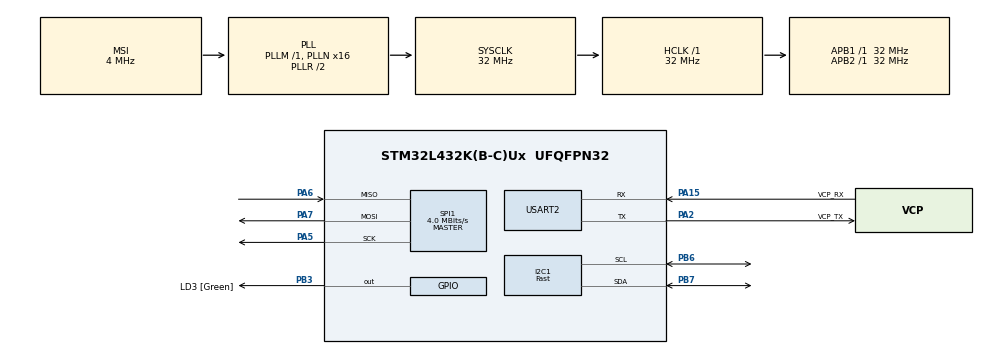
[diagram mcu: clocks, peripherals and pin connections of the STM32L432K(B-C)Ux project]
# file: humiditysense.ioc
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FREERTOS.Tasks01=CheckOutp,8,128,StartCheckOutp,Default,NULL,Dynamic,NULL,NULL;ReadSensor,32,128,StartReadSensor,Default,NULL,Dynamic,NULL,NULL;SendData,24,128,StartSendData,Default,NULL,Dynamic,NULL,NULL
FREERTOS.configUSE_NEWLIB_REENTRANT=1
I2C1.CustomTiming=Enabled
I2C1.I2C_Speed_Mode=I2C_Fast
I2C1.Timing=0x00600614
Mcu.Family=STM32L4
Mcu.Name=STM32L432K(B-C)Ux
Mcu.Package=UFQFPN32
NVIC.PriorityGroup=NVIC_PRIORITYGROUP_4
NVIC.TIM1_BRK_TIM15_IRQn=true\:15\:0\:false\:false\:true\:false\:false\:true\:true
NVIC.TimeBase=TIM1_BRK_TIM15_IRQn
NVIC.TimeBaseIP=TIM15
PA0.GPIO_Label=MCO [High speed clock in]
PA0.Mode=HSE-External-Clock-Source-for-LittleOrca
PA0.Signal=RCC_CK_IN
PA13\ (JTMS-SWDIO).GPIO_Label=SWDIO
PA13\ (JTMS-SWDIO).Mode=Serial_Wire
PA13\ (JTMS-SWDIO).Signal=SYS_JTMS-SWDIO
PA14\ (JTCK-SWCLK).GPIO_Label=SWCLK
PA14\ (JTCK-SWCLK).Mode=Serial_Wire
PA14\ (JTCK-SWCLK).Signal=SYS_JTCK-SWCLK
PA15\ (JTDI).GPIO_Label=VCP_RX
PA15\ (JTDI).Mode=Asynchronous
PA15\ (JTDI).Signal=USART2_RX
PA2.GPIO_Label=VCP_TX
PA2.Mode=Asynchronous
PA2.Signal=USART2_TX
PA4.Signal=SPI1_NSS
PA5.Mode=Full_Duplex_Master
PA5.Signal=SPI1_SCK
PA6.Mode=Full_Duplex_Master
PA6.Signal=SPI1_MISO
PA7.Mode=Full_Duplex_Master
PA7.Signal=SPI1_MOSI
PB3\ (JTDO-TRACESWO).GPIO_Label=LD3 [Green]
PB3\ (JTDO-TRACESWO).Signal=GPIO_Output
PB6.Mode=I2C
PB6.Signal=I2C1_SCL
PB7.Mode=I2C
PB7.Signal=I2C1_SDA
PC14-OSC32_IN\ (PC14).Mode=LSE-External-Oscillator
PC14-OSC32_IN\ (PC14).Signal=RCC_OSC32_IN
PC15-OSC32_OUT\ (PC15).Mode=LSE-External-Oscillator
PC15-OSC32_OUT\ (PC15).Signal=RCC_OSC32_OUT
ProjectManager.HeapSize=0x200
ProjectManager.StackSize=0x400
ProjectManager.TargetToolchain=STM32CubeIDE
RCC.AHBFreq_Value=32000000
RCC.APB1Freq_Value=32000000
RCC.APB1TimFreq_Value=32000000
RCC.APB2Freq_Value=32000000
RCC.APB2TimFreq_Value=32000000
RCC.CortexFreq_Value=32000000
RCC.HCLKFreq_Value=32000000
RCC.HSE_VALUE=8000000
RCC.HSI16_VALUE=16000000
RCC.HSI48_VALUE=48000000
RCC.HSI_VALUE=16000000
RCC.MSI_VALUE=4000000
RCC.PLLMUL=RCC_PLLMUL_4
RCC.PLLN=16
RCC.SYSCLKFreq_VALUE=32000000
RCC.SYSCLKSource=RCC_SYSCLKSOURCE_PLLCLK
RCC.VCOOutputFreq_Value=64000000
SPI1.BaudRatePrescaler=SPI_BAUDRATEPRESCALER_8
SPI1.CalculateBaudRate=4.0 MBits/s
SPI1.DataSize=SPI_DATASIZE_8BIT
SPI1.Direction=SPI_DIRECTION_2LINES
SPI1.Mode=SPI_MODE_MASTER
SPI1.VirtualType=VM_MASTER
USART2.VirtualMode-Asynchronous=VM_ASYNC
VP_FREERTOS_VS_CMSIS_V2.Mode=CMSIS_V2
VP_SYS_VS_tim15.Mode=TIM15
VP_TIM2_VS_ClockSourceINT.Mode=Internal
VP_TIM2_VS_ClockSourceITR.Mode=TriggerSource_ITR0
board=NUCLEO-L432KC

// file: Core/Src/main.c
/* USER CODE BEGIN Header */
/**
  ******************************************************************************
  * @file           : main.c
  * @brief          : Main program body
  ******************************************************************************
  * @attention
  *
  * Copyright (c) 2023 STMicroelectronics.
  * All rights reserved.
  *
  * This software is licensed under terms that can be found in the LICENSE file
  * in the root directory of this software component.
  * If no LICENSE file comes with this software, it is provided AS-IS.
  *
  ******************************************************************************
  */
/* USER CODE END Header */
#include "main.h"
#include "cmsis_os.h"
#include <string.h>
#include <stdio.h>

/* USER CODE BEGIN Includes */

//uint8_t sensorData[2];
float humidity = 0.0;

/* USER CODE END Includes */

I2C_HandleTypeDef hi2c1;

SPI_HandleTypeDef hspi1;

TIM_HandleTypeDef htim2;

UART_HandleTypeDef huart2;

/* Definitions for CheckOutp */
osThreadId_t CheckOutpHandle;
const osThreadAttr_t CheckOutp_attributes = {
  .name = "CheckOutp",
  .stack_size = 128 * 4,
  .priority = (osPriority_t) osPriorityLow,
};
/* Definitions for ReadSensor */
osThreadId_t ReadSensorHandle;
const osThreadAttr_t ReadSensor_attributes = {
  .name = "ReadSensor",
  .stack_size = 128 * 4,
  .priority = (osPriority_t) osPriorityAboveNormal,
};
/* Definitions for SendData */
osThreadId_t SendDataHandle;
const osThreadAttr_t SendData_attributes = {
  .name = "SendData",
  .stack_size = 128 * 4,
  .priority = (osPriority_t) osPriorityNormal,
};

void SystemClock_Config(void);
static void MX_GPIO_Init(void);
static void MX_USART2_UART_Init(void);
static void MX_I2C1_Init(void);
static void MX_SPI1_Init(void);
static void MX_TIM2_Init(void);
void StartCheckOutp(void *argument);
void StartReadSensor(void *argument);
void StartSendData(void *argument);

void ReadSensorData(void);
void CheckOutp(void);

int main(void)
{

  /* MCU Configuration--------------------------------------------------------*/

  /* Reset of all peripherals, Initializes the Flash interface and the Systick. */
  HAL_Init();

  /* Configure the system clock */
  SystemClock_Config();

  /* Initialize all configured peripherals */
  MX_GPIO_Init();
  MX_USART2_UART_Init();
  MX_I2C1_Init();
  MX_SPI1_Init();
  MX_TIM2_Init();

  /* Init scheduler */
  osKernelInitialize();

  /* Create the thread(s) */
  /* creation of CheckOutp */
  CheckOutpHandle = osThreadNew(StartCheckOutp, NULL, &CheckOutp_attributes);

  /* creation of ReadSensor */
  ReadSensorHandle = osThreadNew(StartReadSensor, NULL, &ReadSensor_attributes);

  /* creation of SendData */
  SendDataHandle = osThreadNew(StartSendData, NULL, &SendData_attributes);

  /* Start scheduler */
  osKernelStart();
  /* We should never get here as control is now taken by the scheduler */
  /* Infinite loop */
  while (1)
  {

  }
}

void SystemClock_Config(void)
{
  RCC_OscInitTypeDef RCC_OscInitStruct = {0};
  RCC_ClkInitTypeDef RCC_ClkInitStruct = {0};

  /** Configure the main internal regulator output voltage
  */
  if (HAL_PWREx_ControlVoltageScaling(PWR_REGULATOR_VOLTAGE_SCALE1) != HAL_OK)
  {
    Error_Handler();
  }

  /** Configure LSE Drive Capability
  */
  HAL_PWR_EnableBkUpAccess();
  __HAL_RCC_LSEDRIVE_CONFIG(RCC_LSEDRIVE_LOW);

  /** Initializes the RCC Oscillators according to the specified parameters
  * in the RCC_OscInitTypeDef structure.
  */
  RCC_OscInitStruct.OscillatorType = RCC_OSCILLATORTYPE_LSE|RCC_OSCILLATORTYPE_MSI;
  RCC_OscInitStruct.LSEState = RCC_LSE_ON;
  RCC_OscInitStruct.MSIState = RCC_MSI_ON;
  RCC_OscInitStruct.MSICalibrationValue = 0;
  RCC_OscInitStruct.MSIClockRange = RCC_MSIRANGE_6;
  RCC_OscInitStruct.PLL.PLLState = RCC_PLL_ON;
  RCC_OscInitStruct.PLL.PLLSource = RCC_PLLSOURCE_MSI;
  RCC_OscInitStruct.PLL.PLLM = 1;
  RCC_OscInitStruct.PLL.PLLN = 16;
  RCC_OscInitStruct.PLL.PLLP = RCC_PLLP_DIV7;
  RCC_OscInitStruct.PLL.PLLQ = RCC_PLLQ_DIV2;
  RCC_OscInitStruct.PLL.PLLR = RCC_PLLR_DIV2;
  if (HAL_RCC_OscConfig(&RCC_OscInitStruct) != HAL_OK)
  {
    Error_Handler();
  }

  /** Initializes the CPU, AHB and APB buses clocks
  */
  RCC_ClkInitStruct.ClockType = RCC_CLOCKTYPE_HCLK|RCC_CLOCKTYPE_SYSCLK
                              |RCC_CLOCKTYPE_PCLK1|RCC_CLOCKTYPE_PCLK2;
  RCC_ClkInitStruct.SYSCLKSource = RCC_SYSCLKSOURCE_PLLCLK;
  RCC_ClkInitStruct.AHBCLKDivider = RCC_SYSCLK_DIV1;
  RCC_ClkInitStruct.APB1CLKDivider = RCC_HCLK_DIV1;
  RCC_ClkInitStruct.APB2CLKDivider = RCC_HCLK_DIV1;

  if (HAL_RCC_ClockConfig(&RCC_ClkInitStruct, FLASH_LATENCY_1) != HAL_OK)
  {
    Error_Handler();
  }

  /** Enable MSI Auto calibration
  */
  HAL_RCCEx_EnableMSIPLLMode();
}

static void MX_I2C1_Init(void)
{

  hi2c1.Instance = I2C1;
  hi2c1.Init.Timing = 0x00600614;
  hi2c1.Init.OwnAddress1 = 0;
  hi2c1.Init.AddressingMode = I2C_ADDRESSINGMODE_7BIT;
  hi2c1.Init.DualAddressMode = I2C_DUALADDRESS_DISABLE;
  hi2c1.Init.OwnAddress2 = 0;
  hi2c1.Init.OwnAddress2Masks = I2C_OA2_NOMASK;
  hi2c1.Init.GeneralCallMode = I2C_GENERALCALL_DISABLE;
  hi2c1.Init.NoStretchMode = I2C_NOSTRETCH_DISABLE;
  if (HAL_I2C_Init(&hi2c1) != HAL_OK)
  {
    Error_Handler();
  }

  /** Configure Analogue filter
  */
  if (HAL_I2CEx_ConfigAnalogFilter(&hi2c1, I2C_ANALOGFILTER_ENABLE) != HAL_OK)
  {
    Error_Handler();
  }

  /** Configure Digital filter
  */
  if (HAL_I2CEx_ConfigDigitalFilter(&hi2c1, 0) != HAL_OK)
  {
    Error_Handler();
  }

}

static void MX_SPI1_Init(void)
{

  /* SPI1 parameter configuration*/
  hspi1.Instance = SPI1;
  hspi1.Init.Mode = SPI_MODE_MASTER;
  hspi1.Init.Direction = SPI_DIRECTION_2LINES;
  hspi1.Init.DataSize = SPI_DATASIZE_8BIT;
  hspi1.Init.CLKPolarity = SPI_POLARITY_LOW;
  hspi1.Init.CLKPhase = SPI_PHASE_1EDGE;
  hspi1.Init.NSS = SPI_NSS_SOFT;
  hspi1.Init.BaudRatePrescaler = SPI_BAUDRATEPRESCALER_8;
  hspi1.Init.FirstBit = SPI_FIRSTBIT_MSB;
  hspi1.Init.TIMode = SPI_TIMODE_DISABLE;
  hspi1.Init.CRCCalculation = SPI_CRCCALCULATION_DISABLE;
  hspi1.Init.CRCPolynomial = 7;
  hspi1.Init.CRCLength = SPI_CRC_LENGTH_DATASIZE;
  hspi1.Init.NSSPMode = SPI_NSS_PULSE_ENABLE;
  if (HAL_SPI_Init(&hspi1) != HAL_OK)
  {
    Error_Handler();
  }

}

static void MX_TIM2_Init(void)
{

  TIM_ClockConfigTypeDef sClockSourceConfig = {0};
  TIM_SlaveConfigTypeDef sSlaveConfig = {0};
  TIM_MasterConfigTypeDef sMasterConfig = {0};

  htim2.Instance = TIM2;
  htim2.Init.Prescaler = 0;
  htim2.Init.CounterMode = TIM_COUNTERMODE_UP;
  htim2.Init.Period = 4294967295;
  htim2.Init.ClockDivision = TIM_CLOCKDIVISION_DIV1;
  htim2.Init.AutoReloadPreload = TIM_AUTORELOAD_PRELOAD_DISABLE;
  if (HAL_TIM_Base_Init(&htim2) != HAL_OK)
  {
    Error_Handler();
  }
  sClockSourceConfig.ClockSource = TIM_CLOCKSOURCE_INTERNAL;
  if (HAL_TIM_ConfigClockSource(&htim2, &sClockSourceConfig) != HAL_OK)
  {
    Error_Handler();
  }
  sSlaveConfig.SlaveMode = TIM_SLAVEMODE_DISABLE;
  sSlaveConfig.InputTrigger = TIM_TS_ITR0;
  if (HAL_TIM_SlaveConfigSynchro(&htim2, &sSlaveConfig) != HAL_OK)
  {
    Error_Handler();
  }
  sMasterConfig.MasterOutputTrigger = TIM_TRGO_RESET;
  sMasterConfig.MasterSlaveMode = TIM_MASTERSLAVEMODE_DISABLE;
  if (HAL_TIMEx_MasterConfigSynchronization(&htim2, &sMasterConfig) != HAL_OK)
  {
    Error_Handler();
  }

}

static void MX_USART2_UART_Init(void)
{

  huart2.Instance = USART2;
  huart2.Init.BaudRate = 115200;
  huart2.Init.WordLength = UART_WORDLENGTH_8B;
  huart2.Init.StopBits = UART_STOPBITS_1;
  huart2.Init.Parity = UART_PARITY_NONE;
  huart2.Init.Mode = UART_MODE_TX_RX;
  huart2.Init.HwFlowCtl = UART_HWCONTROL_NONE;
  huart2.Init.OverSampling = UART_OVERSAMPLING_16;
  huart2.Init.OneBitSampling = UART_ONE_BIT_SAMPLE_DISABLE;
  huart2.AdvancedInit.AdvFeatureInit = UART_ADVFEATURE_NO_INIT;
  if (HAL_UART_Init(&huart2) != HAL_OK)
  {
    Error_Handler();
  }

}

static void MX_GPIO_Init(void)
{
  GPIO_InitTypeDef GPIO_InitStruct = {0};

  /* GPIO Ports Clock Enable */
  __HAL_RCC_GPIOC_CLK_ENABLE();
  __HAL_RCC_GPIOA_CLK_ENABLE();
  __HAL_RCC_GPIOB_CLK_ENABLE();

  /*Configure GPIO pin Output Level */
  HAL_GPIO_WritePin(LD3_GPIO_Port, LD3_Pin, GPIO_PIN_RESET);

  /*Configure GPIO pin : LD3_Pin */
  GPIO_InitStruct.Pin = LD3_Pin;
  GPIO_InitStruct.Mode = GPIO_MODE_OUTPUT_PP;
  GPIO_InitStruct.Pull = GPIO_NOPULL;
  GPIO_InitStruct.Speed = GPIO_SPEED_FREQ_LOW;
  HAL_GPIO_Init(LD3_GPIO_Port, &GPIO_InitStruct);

}

/* USER CODE BEGIN 4 */

void ReadSensorData(void)
{
    uint8_t sensorAddress = 0x40 << 1;  // shift left to account for R/W bit

    uint8_t readHumidity = 0xF5;

    HAL_I2C_Master_Transmit(&hi2c1, sensorAddress, &readHumidity, 1, HAL_MAX_DELAY);
    HAL_Delay(20);

    uint8_t rawData[2];  // raw data is unreadable by itself, needs 16 bits see below
    HAL_I2C_Master_Receive(&hi2c1, sensorAddress, rawData, 2, HAL_MAX_DELAY);

    uint16_t rh = (rawData[0] << 8) | rawData[1];
    /*
     * "Measured data are transferred in two byte packages, i.e. in frames of 8-bit length
     *  where the most significant bit (MSB) is transferred  first (left aligned)" datasheet p.15
     */

    humidity = -6 + 125 * ((float)rh / 65536);  // Conversion formula from datasheet
}

void CheckOutp(void){

	  while(1) {

	         char message[50];
	         uint8_t len;
	         len = sprintf(message, "Luftfeuchtigkeit test: %.2f %%\r\n", humidity);

	         HAL_UART_Transmit(&huart2, (uint8_t*)message, len, HAL_MAX_DELAY);

	         osDelay(1000);
	     }  // End of while loop
}

/* USER CODE END 4 */

void StartCheckOutp(void *argument)
{
  /* USER CODE BEGIN 5 */
  /* Infinite loop */
  for(;;)
  {
	CheckOutp();
    osDelay(1);
  }
  /* USER CODE END 5 */
}

void StartReadSensor(void *argument)
{
  /* USER CODE BEGIN StartReadSensor */
  /* Infinite loop */
  for(;;)
  {
	ReadSensorData();
    osDelay(1);
  }
  /* USER CODE END StartReadSensor */
}

void StartSendData(void *argument)
{
  for(;;)
  {
    osDelay(1);
  }
}

void HAL_TIM_PeriodElapsedCallback(TIM_HandleTypeDef *htim)
{
  if (htim->Instance == TIM15) {
    HAL_IncTick();
  }
}

void Error_Handler(void)
{
  __disable_irq();
  while (1)
  {
  }
}
